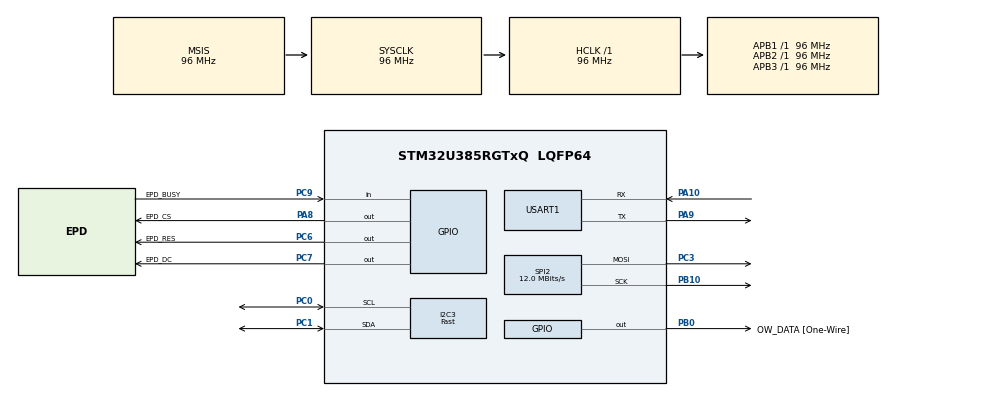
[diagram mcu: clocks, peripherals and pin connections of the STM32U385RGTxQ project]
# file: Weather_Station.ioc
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CORTEX_M33_NS.userName=CORTEX_M33
I2C3.I2C_Speed_Mode=I2C_Fast
I2C3.Timing=0x009032AE
Mcu.Family=STM32U3
Mcu.Name=STM32U385RGTxQ
Mcu.Package=LQFP64
NUCLEO-U385RG-Q.BUTTON=0
NUCLEO-U385RG-Q.LD2=true
NUCLEO-U385RG-Q.VCP=false
NVIC.I2C3_EV_IRQn=true\:0\:0\:false\:false\:true\:true\:true\:true
NVIC.PriorityGroup=NVIC_PRIORITYGROUP_4
NVIC.RTC_IRQn=true\:0\:0\:false\:false\:true\:true\:true\:true
NVIC.TIM7_IRQn=true\:0\:0\:false\:false\:true\:true\:true\:true
PA10.Mode=Asynchronous
PA10.Signal=USART1_RX
PA13\ (JTMS/SWDIO).GPIO_Label=DEBUG_JTMS-SWDIO
PA13\ (JTMS/SWDIO).Signal=DEBUG_JTMS-SWDIO
PA14\ (JTCK/SWCLK).GPIO_Label=DEBUG_JTCK-SWCLK
PA14\ (JTCK/SWCLK).Signal=DEBUG_JTCK-SWCLK
PA15\ (JTDI).GPIO_Label=DEBUG_JTDI
PA15\ (JTDI).Signal=DEBUG_JTDI
PA8.GPIO_Label=EPD_CS
PA8.PinState=GPIO_PIN_SET
PA8.Signal=GPIO_Output
PA9.Mode=Asynchronous
PA9.Signal=USART1_TX
PB0.GPIO_Label=OW_DATA [One-Wire]
PB0.GPIO_ModeDefaultOutputPP=GPIO_MODE_OUTPUT_OD
PB0.GPIO_PuPd=GPIO_PULLUP
PB0.PinState=GPIO_PIN_SET
PB0.Signal=GPIO_Output
PB10.Mode=TX_Only_Simplex_Unidirect_Master
PB10.Signal=SPI2_SCK
PB3\ (JTDO/TRACESWO).GPIO_Label=DEBUG_JTDO-SWO
PB3\ (JTDO/TRACESWO).Signal=DEBUG_JTDO-SWO
PC0.Mode=I2C
PC0.Signal=I2C3_SCL
PC1.Mode=I2C
PC1.Signal=I2C3_SDA
PC14-OSC32_IN\ (PC14).GPIO_Label=RCC_OSC32_IN
PC14-OSC32_IN\ (PC14).Mode=LSE-External-Oscillator-for-RTC
PC14-OSC32_IN\ (PC14).Signal=RCC_OSC32_IN
PC15-OSC32_OUT\ (PC15).GPIO_Label=RCC_OSC32_OUT
PC15-OSC32_OUT\ (PC15).Mode=LSE-External-Oscillator-for-RTC
PC15-OSC32_OUT\ (PC15).Signal=RCC_OSC32_OUT
PC3.Mode=TX_Only_Simplex_Unidirect_Master
PC3.Signal=SPI2_MOSI
PC6.GPIO_Label=EPD_RES
PC6.PinState=GPIO_PIN_SET
PC6.Signal=GPIO_Output
PC7.GPIO_Label=EPD_DC
PC7.Signal=GPIO_Output
PC9.GPIO_Label=EPD_BUSY
PC9.Signal=GPIO_Input
ProjectManager.HeapSize=0x200
ProjectManager.StackSize=0x400
ProjectManager.TargetToolchain=CMake
RCC.ADCFreq_Value=96000000
RCC.AHBFreq_Value=96000000
RCC.APB1Freq_Value=96000000
RCC.APB1TimFreq_Value=96000000
RCC.APB2Freq_Value=96000000
RCC.APB2TimFreq_Value=96000000
RCC.APB3Freq_Value=96000000
RCC.CortexFreq_Value=12000000
RCC.HCLKFreq_Value=96000000
RCC.HSE_VALUE=16000000
RCC.HSI48_VALUE=48000000
RCC.HSI_VALUE=16000000
RCC.LSIDIV_VALUE=32000
RCC.MSISDIV=RCC_MSI_DIV1
RCC.RTCClockSelection=RCC_RTCCLKSOURCE_LSE
RCC.SYSCLKFreq_VALUE=96000000
RCC.USBFreq_Value=48000000
RCC.USB_DIV=RCC_USB1CLKSOURCE_ICLK_DIV2
RTC.Alarm-Alarm\ A=RTC_ALARM_A
RTC.AlarmMaskDateWeekDay-Alarm\ A=RTC_ALARMMASK_DATEWEEKDAY
RTC.AlarmMaskHours-Alarm\ A=RTC_ALARMMASK_HOURS
RTC.AlarmMaskMinutes-Alarm\ A=RTC_ALARMMASK_MINUTES
RTC.Format=RTC_FORMAT_BIN
RTC.Hours=12
RTC.Hours_A-Alarm\ A=0
RTC.WakeUpClock-WakeUp=RTC_WAKEUPCLOCK_CK_SPRE_16BITS
RTC.WakeUpCounter-WakeUp=10-1
SPI2.BaudRatePrescaler=SPI_BAUDRATEPRESCALER_8
SPI2.CalculateBaudRate=12.0 MBits/s
SPI2.DataSize=SPI_DATASIZE_8BIT
SPI2.Direction=SPI_DIRECTION_2LINES_TXONLY
SPI2.Mode=SPI_MODE_MASTER
SPI2.NSSPMode=SPI_NSS_PULSE_DISABLE
SPI2.VirtualType=VM_MASTER
TIM2.Prescaler=96-1
TIM7.Prescaler=96-1
USART1.VirtualMode-Asynchronous=VM_ASYNC
VP_CORTEX_M33_NS_VS_Hclk.Mode=Hclk_Mode
VP_MEMORYMAP_VS_MEMORYMAP.Mode=CurAppReg
VP_NUCLEO-U385RG-Q_VS_BSP_COMMON.Mode=COMMON
VP_PWR_VS_DBSignals.Mode=DisableDeadBatterySignals
VP_PWR_VS_LPOM.Mode=PowerOptimisation
VP_PWR_VS_SECSignals.Mode=Security/Privilege
VP_RTC_VS_RTC_Activate.Mode=RTC_Enabled
VP_RTC_VS_RTC_Alarm_A_Intern.Mode=Alarm A
VP_RTC_VS_RTC_Calendar.Mode=RTC_Calendar
VP_RTC_VS_RTC_WakeUp_intern.Mode=WakeUp
VP_TIM2_VS_ClockSourceINT.Mode=Internal
VP_TIM7_VS_ClockSourceINT.Mode=Enable_Timer
board=NUCLEO-U385RG-Q

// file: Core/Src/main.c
/* USER CODE BEGIN Header */
/**
  ******************************************************************************
  * @file           : main.c
  * @brief          : Main program body
  ******************************************************************************
  * @attention
  *
  * Copyright (c) 2026 STMicroelectronics.
  * All rights reserved.
  *
  * This software is licensed under terms that can be found in the LICENSE file
  * in the root directory of this software component.
  * If no LICENSE file comes with this software, it is provided AS-IS.
  *
  ******************************************************************************
  */
/* USER CODE END Header */
#include "main.h"

/* USER CODE BEGIN Includes */
#include <stdio.h>

#include "../PowerManager/pwr_manager.h"
#include "../OneWire/onewire.h"

#include "../AppLogic/app_logic.h"
/* USER CODE END Includes */

I2C_HandleTypeDef hi2c3;

RTC_HandleTypeDef hrtc;

SPI_HandleTypeDef hspi2;

TIM_HandleTypeDef htim2;
TIM_HandleTypeDef htim7;

UART_HandleTypeDef huart1;

/* USER CODE BEGIN PV */
static const GPIO_Pin_t ow_data_pin = {
  .pin = OW_DATA_Pin,
  .port = OW_DATA_GPIO_Port
};

static const EPD_Pins_t epd_pins = {
  .cs = { .pin = EPD_CS_Pin, .port = EPD_CS_GPIO_Port},
  .dc = { .pin = EPD_DC_Pin, .port = EPD_DC_GPIO_Port},
  .busy = { .pin = EPD_BUSY_Pin, .port = EPD_BUSY_GPIO_Port},
  .res = { .pin = EPD_RES_Pin, .port = EPD_RES_GPIO_Port}
};

static PwrManager_Retained_t *retained_data;

static OneWire_Handle_t how;
static PwrManager_Handle_t hpwr;
static App_Handle_t happ;

static uint8_t gfx_buffer[EPD_SIZE];

static bool is_retained_valid;
/* USER CODE END PV */

void SystemClock_Config(void);
static void MX_GPIO_Init(void);
static void MX_SPI2_Init(void);
static void MX_I2C3_Init(void);
static void MX_USART1_UART_Init(void);
static void MX_TIM7_Init(void);
static void MX_TIM2_Init(void);
static void MX_RTC_Init(void);
/* USER CODE BEGIN PFP */
static void PWR_Manager_Init(void);
static void Bus_OneWire_Init(void);
static void System_App_Init(void);
/* USER CODE END PFP */

/* USER CODE BEGIN 0 */
// Debug
int __io_putchar(int ch) {
  if (ch == '\n') {
    __io_putchar('\r');
  }

  HAL_UART_Transmit(&huart1, (uint8_t *) &ch, 1, 1000);
  return 1;
}

void HAL_TIM_PeriodElapsedCallback(TIM_HandleTypeDef *htim) {
  if (htim == &htim7) {
    OneWire_OnTimerCplt(&how);
  }
}
/* USER CODE END 0 */

int main(void)
{

  /* MCU Configuration--------------------------------------------------------*/

  /* Reset of all peripherals, Initializes the Flash interface and the Systick. */
  HAL_Init();

  /* USER CODE BEGIN Init */
  PWR_Manager_Init();
  /* USER CODE END Init */

  /* Configure the system clock */
  SystemClock_Config();

  /* Initialize all configured peripherals */
  MX_GPIO_Init();
  MX_SPI2_Init();
  MX_I2C3_Init();
  MX_USART1_UART_Init();
  MX_TIM7_Init();
  MX_TIM2_Init();
  MX_RTC_Init();
  /* USER CODE BEGIN 2 */
  Bus_OneWire_Init();
  System_App_Init();
  /* USER CODE END 2 */

  /* Initialize leds */
  BSP_LED_Init(LED_GREEN);

  /* Infinite loop */
  /* USER CODE BEGIN WHILE */
  for (uint8_t i = 0; i < 6; i++) {
    BSP_LED_Toggle(LED_GREEN);
    HAL_Delay(100);
  }

  RTC_TimeTypeDef time = {0};
  RTC_DateTypeDef date = {0};

  HAL_RTC_GetTime(&hrtc, &time, RTC_FORMAT_BIN);
  HAL_RTC_GetDate(&hrtc, &date, RTC_FORMAT_BIN);

  printf("TIME: %02d:%02d:%02d DATE: %d-%02d-%02d\n", time.Hours, time.Minutes, time.Seconds, date.Year, date.Month, date.Date);
  printf("FLAGS: sbf: %d alraf: %d wutf: %d rtc init: %d\n", hpwr.standby_flag, hpwr.alarm_a_flag, hpwr.wu_tim_flag, hpwr.rtc_init_flag);
  printf("Retained data: magic %x and its %d\n", retained_data->magic, is_retained_valid);

  App_Run(&happ);

  while (1) {
    App_Task(&happ);
  }
    /* USER CODE END WHILE */

}

void SystemClock_Config(void)
{
  RCC_OscInitTypeDef RCC_OscInitStruct = {0};
  RCC_ClkInitTypeDef RCC_ClkInitStruct = {0};

  /** Configure the System Power Supply
  */
  if (HAL_PWREx_ConfigSupply(PWR_SMPS_SUPPLY) != HAL_OK)
  {
    Error_Handler();
  }

  /** Enable Epod Booster
  */
  if (HAL_RCCEx_EpodBoosterClkConfig(RCC_EPODBOOSTER_SOURCE_MSIS, RCC_EPODBOOSTER_DIV1) != HAL_OK)
  {
    Error_Handler();
  }
  if (HAL_PWREx_EnableEpodBooster() != HAL_OK)
  {
    Error_Handler();
  }

  /** Configure the main internal regulator output voltage
  */
  if (HAL_PWREx_ControlVoltageScaling(PWR_REGULATOR_VOLTAGE_SCALE1) != HAL_OK)
  {
    Error_Handler();
  }

  /** Set Flash latency before increasing MSIS
  */
  __HAL_FLASH_SET_LATENCY(FLASH_LATENCY_2);

  /** Configure LSE Drive Capability
  */
  HAL_PWR_EnableBkUpAccess();
  __HAL_RCC_LSEDRIVE_CONFIG(RCC_LSEDRIVE_LOW);

  /** Initializes the CPU, AHB and APB buses clocks
  */
  RCC_OscInitStruct.OscillatorType = RCC_OSCILLATORTYPE_LSE|RCC_OSCILLATORTYPE_MSIS;
  RCC_OscInitStruct.LSEState = RCC_LSE_ON_RTC_ONLY;
  RCC_OscInitStruct.MSISState = RCC_MSI_ON;
  RCC_OscInitStruct.MSISSource = RCC_MSI_RC0;
  RCC_OscInitStruct.MSISDiv = RCC_MSI_DIV1;
  if (HAL_RCC_OscConfig(&RCC_OscInitStruct) != HAL_OK)
  {
    Error_Handler();
  }

  /** Initializes the CPU, AHB and APB buses clocks
  */
  RCC_ClkInitStruct.ClockType = RCC_CLOCKTYPE_HCLK|RCC_CLOCKTYPE_SYSCLK
                              |RCC_CLOCKTYPE_PCLK1|RCC_CLOCKTYPE_PCLK2
                              |RCC_CLOCKTYPE_PCLK3;
  RCC_ClkInitStruct.SYSCLKSource = RCC_SYSCLKSOURCE_MSIS;
  RCC_ClkInitStruct.AHBCLKDivider = RCC_SYSCLK_DIV1;
  RCC_ClkInitStruct.APB1CLKDivider = RCC_HCLK_DIV1;
  RCC_ClkInitStruct.APB2CLKDivider = RCC_HCLK_DIV1;
  RCC_ClkInitStruct.APB3CLKDivider = RCC_HCLK_DIV1;

  if (HAL_RCC_ClockConfig(&RCC_ClkInitStruct, FLASH_LATENCY_2) != HAL_OK)
  {
    Error_Handler();
  }
}

static void MX_I2C3_Init(void)
{

  hi2c3.Instance = I2C3;
  hi2c3.Init.Timing = 0x009032AE;
  hi2c3.Init.OwnAddress1 = 0;
  hi2c3.Init.AddressingMode = I2C_ADDRESSINGMODE_7BIT;
  hi2c3.Init.DualAddressMode = I2C_DUALADDRESS_DISABLE;
  hi2c3.Init.OwnAddress2 = 0;
  hi2c3.Init.OwnAddress2Masks = I2C_OA2_NOMASK;
  hi2c3.Init.GeneralCallMode = I2C_GENERALCALL_DISABLE;
  hi2c3.Init.NoStretchMode = I2C_NOSTRETCH_DISABLE;
  if (HAL_I2C_Init(&hi2c3) != HAL_OK)
  {
    Error_Handler();
  }

  /** Configure Analogue filter
  */
  if (HAL_I2CEx_ConfigAnalogFilter(&hi2c3, I2C_ANALOGFILTER_ENABLE) != HAL_OK)
  {
    Error_Handler();
  }

  /** Configure Digital filter
  */
  if (HAL_I2CEx_ConfigDigitalFilter(&hi2c3, 0) != HAL_OK)
  {
    Error_Handler();
  }

}

static void MX_RTC_Init(void)
{

  RTC_PrivilegeStateTypeDef privilegeState = {0};
  RTC_TimeTypeDef sTime = {0};
  RTC_DateTypeDef sDate = {0};
  RTC_AlarmTypeDef sAlarm = {0};

  /** Initialize RTC Only
  */
  hrtc.Instance = RTC;
  hrtc.Init.HourFormat = RTC_HOURFORMAT_24;
  hrtc.Init.AsynchPrediv = 127;
  hrtc.Init.SynchPrediv = 255;
  hrtc.Init.OutPut = RTC_OUTPUT_DISABLE;
  hrtc.Init.OutPutRemap = RTC_OUTPUT_REMAP_NONE;
  hrtc.Init.OutPutPolarity = RTC_OUTPUT_POLARITY_HIGH;
  hrtc.Init.OutPutType = RTC_OUTPUT_TYPE_OPENDRAIN;
  hrtc.Init.OutPutPullUp = RTC_OUTPUT_PULLUP_NONE;
  hrtc.Init.BinMode = RTC_BINARY_NONE;
  if (HAL_RTC_Init(&hrtc) != HAL_OK)
  {
    Error_Handler();
  }
  privilegeState.rtcPrivilegeFull = RTC_PRIVILEGE_FULL_NO;
  privilegeState.backupRegisterPrivZone = RTC_PRIVILEGE_BKUP_ZONE_NONE;
  privilegeState.backupRegisterStartZone2 = RTC_BKP_DR0;
  privilegeState.backupRegisterStartZone3 = RTC_BKP_DR0;
  if (HAL_RTCEx_PrivilegeModeSet(&hrtc, &privilegeState) != HAL_OK)
  {
    Error_Handler();
  }

  /* USER CODE BEGIN Check_RTC_BKUP */
  if (PwrManager_WasRtcInit(&hpwr)) return;
  /* USER CODE END Check_RTC_BKUP */

  /** Initialize RTC and set the Time and Date
  */
  sTime.Hours = 12;
  sTime.Minutes = 0;
  sTime.Seconds = 0;
  sTime.DayLightSaving = RTC_DAYLIGHTSAVING_NONE;
  sTime.StoreOperation = RTC_STOREOPERATION_RESET;
  if (HAL_RTC_SetTime(&hrtc, &sTime, RTC_FORMAT_BIN) != HAL_OK)
  {
    Error_Handler();
  }
  sDate.WeekDay = RTC_WEEKDAY_MONDAY;
  sDate.Month = RTC_MONTH_JANUARY;
  sDate.Date = 1;
  sDate.Year = 0;

  if (HAL_RTC_SetDate(&hrtc, &sDate, RTC_FORMAT_BIN) != HAL_OK)
  {
    Error_Handler();
  }

  /** Enable the Alarm A
  */
  sAlarm.AlarmTime.Hours = 0;
  sAlarm.AlarmTime.Minutes = 0;
  sAlarm.AlarmTime.Seconds = 0;
  sAlarm.AlarmTime.SubSeconds = 0;
  sAlarm.AlarmMask = RTC_ALARMMASK_DATEWEEKDAY|RTC_ALARMMASK_HOURS
                              |RTC_ALARMMASK_MINUTES;
  sAlarm.AlarmSubSecondMask = RTC_ALARMSUBSECONDMASK_ALL;
  sAlarm.AlarmDateWeekDaySel = RTC_ALARMDATEWEEKDAYSEL_DATE;
  sAlarm.AlarmDateWeekDay = 1;
  sAlarm.Alarm = RTC_ALARM_A;
  if (HAL_RTC_SetAlarm_IT(&hrtc, &sAlarm, RTC_FORMAT_BIN) != HAL_OK)
  {
    Error_Handler();
  }

  /** Enable the WakeUp
  */
  if (HAL_RTCEx_SetWakeUpTimer_IT(&hrtc, 10-1, RTC_WAKEUPCLOCK_CK_SPRE_16BITS, 0) != HAL_OK)
  {
    Error_Handler();
  }
  /* USER CODE BEGIN RTC_Init 2 */
  PwrManager_SetRtcInitFlag(&hpwr);
  /* USER CODE END RTC_Init 2 */

}

static void MX_SPI2_Init(void)
{

  SPI_AutonomousModeConfTypeDef HAL_SPI_AutonomousMode_Cfg_Struct = {0};

  /* SPI2 parameter configuration*/
  hspi2.Instance = SPI2;
  hspi2.Init.Mode = SPI_MODE_MASTER;
  hspi2.Init.Direction = SPI_DIRECTION_2LINES_TXONLY;
  hspi2.Init.DataSize = SPI_DATASIZE_8BIT;
  hspi2.Init.CLKPolarity = SPI_POLARITY_LOW;
  hspi2.Init.CLKPhase = SPI_PHASE_1EDGE;
  hspi2.Init.NSS = SPI_NSS_SOFT;
  hspi2.Init.BaudRatePrescaler = SPI_BAUDRATEPRESCALER_8;
  hspi2.Init.FirstBit = SPI_FIRSTBIT_MSB;
  hspi2.Init.TIMode = SPI_TIMODE_DISABLE;
  hspi2.Init.CRCCalculation = SPI_CRCCALCULATION_DISABLE;
  hspi2.Init.CRCPolynomial = 0x7;
  hspi2.Init.NSSPMode = SPI_NSS_PULSE_DISABLE;
  hspi2.Init.NSSPolarity = SPI_NSS_POLARITY_LOW;
  hspi2.Init.FifoThreshold = SPI_FIFO_THRESHOLD_01DATA;
  hspi2.Init.MasterSSIdleness = SPI_MASTER_SS_IDLENESS_00CYCLE;
  hspi2.Init.MasterInterDataIdleness = SPI_MASTER_INTERDATA_IDLENESS_00CYCLE;
  hspi2.Init.MasterReceiverAutoSusp = SPI_MASTER_RX_AUTOSUSP_DISABLE;
  hspi2.Init.MasterKeepIOState = SPI_MASTER_KEEP_IO_STATE_DISABLE;
  hspi2.Init.IOSwap = SPI_IO_SWAP_DISABLE;
  hspi2.Init.ReadyMasterManagement = SPI_RDY_MASTER_MANAGEMENT_INTERNALLY;
  hspi2.Init.ReadyPolarity = SPI_RDY_POLARITY_HIGH;
  if (HAL_SPI_Init(&hspi2) != HAL_OK)
  {
    Error_Handler();
  }
  HAL_SPI_AutonomousMode_Cfg_Struct.TriggerState = SPI_AUTO_MODE_DISABLE;
  HAL_SPI_AutonomousMode_Cfg_Struct.TriggerSelection = SPI_GRP1_GPDMA_CH0_TCF_TRG;
  HAL_SPI_AutonomousMode_Cfg_Struct.TriggerPolarity = SPI_TRIG_POLARITY_RISING;
  if (HAL_SPIEx_SetConfigAutonomousMode(&hspi2, &HAL_SPI_AutonomousMode_Cfg_Struct) != HAL_OK)
  {
    Error_Handler();
  }

}

static void MX_TIM2_Init(void)
{

  TIM_ClockConfigTypeDef sClockSourceConfig = {0};
  TIM_MasterConfigTypeDef sMasterConfig = {0};

  htim2.Instance = TIM2;
  htim2.Init.Prescaler = 96-1;
  htim2.Init.CounterMode = TIM_COUNTERMODE_UP;
  htim2.Init.Period = 4294967295;
  htim2.Init.ClockDivision = TIM_CLOCKDIVISION_DIV1;
  htim2.Init.AutoReloadPreload = TIM_AUTORELOAD_PRELOAD_DISABLE;
  if (HAL_TIM_Base_Init(&htim2) != HAL_OK)
  {
    Error_Handler();
  }
  sClockSourceConfig.ClockSource = TIM_CLOCKSOURCE_INTERNAL;
  if (HAL_TIM_ConfigClockSource(&htim2, &sClockSourceConfig) != HAL_OK)
  {
    Error_Handler();
  }
  sMasterConfig.MasterOutputTrigger = TIM_TRGO_RESET;
  sMasterConfig.MasterSlaveMode = TIM_MASTERSLAVEMODE_DISABLE;
  if (HAL_TIMEx_MasterConfigSynchronization(&htim2, &sMasterConfig) != HAL_OK)
  {
    Error_Handler();
  }

}

static void MX_TIM7_Init(void)
{

  TIM_MasterConfigTypeDef sMasterConfig = {0};

  htim7.Instance = TIM7;
  htim7.Init.Prescaler = 96-1;
  htim7.Init.CounterMode = TIM_COUNTERMODE_UP;
  htim7.Init.Period = 65535;
  htim7.Init.AutoReloadPreload = TIM_AUTORELOAD_PRELOAD_DISABLE;
  if (HAL_TIM_Base_Init(&htim7) != HAL_OK)
  {
    Error_Handler();
  }
  sMasterConfig.MasterOutputTrigger = TIM_TRGO_RESET;
  sMasterConfig.MasterSlaveMode = TIM_MASTERSLAVEMODE_DISABLE;
  if (HAL_TIMEx_MasterConfigSynchronization(&htim7, &sMasterConfig) != HAL_OK)
  {
    Error_Handler();
  }

}

static void MX_USART1_UART_Init(void)
{

  huart1.Instance = USART1;
  huart1.Init.BaudRate = 115200;
  huart1.Init.WordLength = UART_WORDLENGTH_8B;
  huart1.Init.StopBits = UART_STOPBITS_1;
  huart1.Init.Parity = UART_PARITY_NONE;
  huart1.Init.Mode = UART_MODE_TX_RX;
  huart1.Init.HwFlowCtl = UART_HWCONTROL_NONE;
  huart1.Init.OverSampling = UART_OVERSAMPLING_16;
  huart1.Init.OneBitSampling = UART_ONE_BIT_SAMPLE_DISABLE;
  huart1.Init.ClockPrescaler = UART_PRESCALER_DIV1;
  huart1.AdvancedInit.AdvFeatureInit = UART_ADVFEATURE_NO_INIT;
  if (HAL_UART_Init(&huart1) != HAL_OK)
  {
    Error_Handler();
  }
  if (HAL_UARTEx_SetTxFifoThreshold(&huart1, UART_TXFIFO_THRESHOLD_1_8) != HAL_OK)
  {
    Error_Handler();
  }
  if (HAL_UARTEx_SetRxFifoThreshold(&huart1, UART_RXFIFO_THRESHOLD_1_8) != HAL_OK)
  {
    Error_Handler();
  }
  if (HAL_UARTEx_DisableFifoMode(&huart1) != HAL_OK)
  {
    Error_Handler();
  }

}

static void MX_GPIO_Init(void)
{
  GPIO_InitTypeDef GPIO_InitStruct = {0};

  /* GPIO Ports Clock Enable */
  __HAL_RCC_GPIOC_CLK_ENABLE();
  __HAL_RCC_GPIOB_CLK_ENABLE();
  __HAL_RCC_GPIOA_CLK_ENABLE();

  /*Configure GPIO pin Output Level */
  HAL_GPIO_WritePin(OW_DATA_GPIO_Port, OW_DATA_Pin, GPIO_PIN_SET);

  /*Configure GPIO pin Output Level */
  HAL_GPIO_WritePin(EPD_RES_GPIO_Port, EPD_RES_Pin, GPIO_PIN_SET);

  /*Configure GPIO pin Output Level */
  HAL_GPIO_WritePin(EPD_DC_GPIO_Port, EPD_DC_Pin, GPIO_PIN_RESET);

  /*Configure GPIO pin Output Level */
  HAL_GPIO_WritePin(EPD_CS_GPIO_Port, EPD_CS_Pin, GPIO_PIN_SET);

  /*Configure GPIO pin : OW_DATA_Pin */
  GPIO_InitStruct.Pin = OW_DATA_Pin;
  GPIO_InitStruct.Mode = GPIO_MODE_OUTPUT_OD;
  GPIO_InitStruct.Pull = GPIO_PULLUP;
  GPIO_InitStruct.Speed = GPIO_SPEED_FREQ_LOW;
  HAL_GPIO_Init(OW_DATA_GPIO_Port, &GPIO_InitStruct);

  /*Configure GPIO pins : EPD_RES_Pin EPD_DC_Pin */
  GPIO_InitStruct.Pin = EPD_RES_Pin|EPD_DC_Pin;
  GPIO_InitStruct.Mode = GPIO_MODE_OUTPUT_PP;
  GPIO_InitStruct.Pull = GPIO_NOPULL;
  GPIO_InitStruct.Speed = GPIO_SPEED_FREQ_LOW;
  HAL_GPIO_Init(GPIOC, &GPIO_InitStruct);

  /*Configure GPIO pin : EPD_BUSY_Pin */
  GPIO_InitStruct.Pin = EPD_BUSY_Pin;
  GPIO_InitStruct.Mode = GPIO_MODE_INPUT;
  GPIO_InitStruct.Pull = GPIO_NOPULL;
  HAL_GPIO_Init(EPD_BUSY_GPIO_Port, &GPIO_InitStruct);

  /*Configure GPIO pin : EPD_CS_Pin */
  GPIO_InitStruct.Pin = EPD_CS_Pin;
  GPIO_InitStruct.Mode = GPIO_MODE_OUTPUT_PP;
  GPIO_InitStruct.Pull = GPIO_NOPULL;
  GPIO_InitStruct.Speed = GPIO_SPEED_FREQ_LOW;
  HAL_GPIO_Init(EPD_CS_GPIO_Port, &GPIO_InitStruct);

  /*Configure GPIO pins : DEBUG_JTMS_SWDIO_Pin DEBUG_JTDI_Pin */
  GPIO_InitStruct.Pin = DEBUG_JTMS_SWDIO_Pin|DEBUG_JTDI_Pin;
  GPIO_InitStruct.Mode = GPIO_MODE_AF_PP;
  GPIO_InitStruct.Pull = GPIO_PULLUP;
  GPIO_InitStruct.Speed = GPIO_SPEED_FREQ_LOW;
  GPIO_InitStruct.Alternate = GPIO_AF0_TRACE;
  HAL_GPIO_Init(GPIOA, &GPIO_InitStruct);

  /*Configure GPIO pin : DEBUG_JTDO_SWO_Pin */
  GPIO_InitStruct.Pin = DEBUG_JTDO_SWO_Pin;
  GPIO_InitStruct.Mode = GPIO_MODE_AF_PP;
  GPIO_InitStruct.Pull = GPIO_NOPULL;
  GPIO_InitStruct.Speed = GPIO_SPEED_FREQ_LOW;
  GPIO_InitStruct.Alternate = GPIO_AF0_TRACE;
  HAL_GPIO_Init(DEBUG_JTDO_SWO_GPIO_Port, &GPIO_InitStruct);

}

/* USER CODE BEGIN 4 */
static void PWR_Manager_Init(void) {
  PwrManager_Init(&hpwr, &hrtc);
  retained_data = PwrManager_GetRetained();
  is_retained_valid = PwrManager_CheckRetained(&hpwr);
}

static void System_App_Init(void) {
  BME280_Intf_t intf = {0};
  intf.hi2c = &hi2c3;
  intf.htim = &htim2;
  intf.i2c_addr = (BME280_I2C_ADDR_PRIM << 1);;

  App_Config_t config = {0};
  config.bme280_intf = &intf;
  config.systim_tim = &htim2;
  config.how = &how;

  config.epd_pins = &epd_pins;
  config.gfx_buffer = gfx_buffer;
  config.hspi = &hspi2;

  config.is_retained_valid = is_retained_valid;
  config.retained = retained_data;
  config.hpwr = &hpwr;

  App_Init(&happ, &config);
}

static void Bus_OneWire_Init(void) {
  OneWire_Status_t status;

  OneWire_Config_t config = {0};
  config.data_pin = &ow_data_pin;
  config.bus_mode = OW_ROM_MODE_SKIP;
  config.htim = &htim7;

  status = OneWire_Init(&how, &config);
  if (status != OW_STATUS_OK) {
    Error_Handler();
  }
}
/* USER CODE END 4 */

void Error_Handler(void)
{
  /* USER CODE BEGIN Error_Handler_Debug */
  /* User can add his own implementation to report the HAL error return state */
  __disable_irq();
  while (1)
  {
    BSP_LED_On(LED_GREEN);
  }
  /* USER CODE END Error_Handler_Debug */
}
#ifdef USE_FULL_ASSERT
/**
  * @brief  Reports the name of the source file and the source line number
  *         where the assert_param error has occurred.
  * @param  file: pointer to the source file name
  * @param  line: assert_param error line source number
  * @retval None
  */
void assert_failed(uint8_t *file, uint32_t line)
{
  /* USER CODE BEGIN 6 */
  /* User can add his own implementation to report the file name and line number,
     ex: printf("Wrong parameters value: file %s on line %d\r\n", file, line) */

  printf("Wrong parameters value: file %s on line %lu\n", file, line);
  Error_Handler();
  /* USER CODE END 6 */
}
#endif /* USE_FULL_ASSERT */
